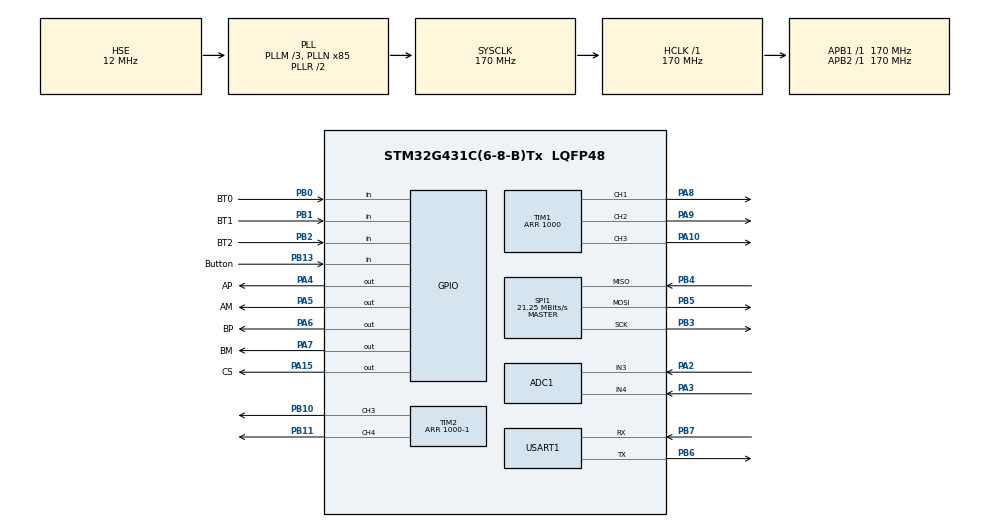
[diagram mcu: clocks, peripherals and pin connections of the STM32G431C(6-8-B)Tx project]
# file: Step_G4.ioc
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ADC1.Channel-0\#ChannelRegularConversion=ADC_CHANNEL_3
ADC1.Channel-1\#ChannelRegularConversion=ADC_CHANNEL_4
ADC1.NbrOfConversion=2
ADC1.NbrOfConversionFlag=1
ADC1.OffsetNumber-0\#ChannelRegularConversion=ADC_OFFSET_NONE
ADC1.OffsetNumber-1\#ChannelRegularConversion=ADC_OFFSET_NONE
ADC1.Rank-0\#ChannelRegularConversion=1
ADC1.Rank-1\#ChannelRegularConversion=2
ADC1.SamplingTime-0\#ChannelRegularConversion=ADC_SAMPLETIME_6CYCLES_5
ADC1.SamplingTime-1\#ChannelRegularConversion=ADC_SAMPLETIME_6CYCLES_5
ADC1.master=1
Dma.ADC1.0.Direction=DMA_PERIPH_TO_MEMORY
Dma.ADC1.0.EventEnable=DISABLE
Dma.ADC1.0.Instance=DMA1_Channel1
Dma.ADC1.0.MemDataAlignment=DMA_MDATAALIGN_HALFWORD
Dma.ADC1.0.MemInc=DMA_MINC_ENABLE
Dma.ADC1.0.Mode=DMA_CIRCULAR
Dma.ADC1.0.PeriphDataAlignment=DMA_PDATAALIGN_HALFWORD
Dma.ADC1.0.PeriphInc=DMA_PINC_DISABLE
Dma.ADC1.0.Polarity=HAL_DMAMUX_REQ_GEN_RISING
Dma.ADC1.0.Priority=DMA_PRIORITY_LOW
Dma.ADC1.0.RequestNumber=1
Dma.ADC1.0.SignalID=NONE
Dma.ADC1.0.SyncEnable=DISABLE
Dma.ADC1.0.SyncPolarity=HAL_DMAMUX_SYNC_NO_EVENT
Dma.ADC1.0.SyncRequestNumber=1
Dma.ADC1.0.SyncSignalID=NONE
Dma.Request0=ADC1
Dma.Request1=USART1_RX
Dma.Request2=USART1_TX
Dma.USART1_RX.1.Direction=DMA_PERIPH_TO_MEMORY
Dma.USART1_RX.1.EventEnable=DISABLE
Dma.USART1_RX.1.Instance=DMA1_Channel2
Dma.USART1_RX.1.MemDataAlignment=DMA_MDATAALIGN_BYTE
Dma.USART1_RX.1.MemInc=DMA_MINC_ENABLE
Dma.USART1_RX.1.Mode=DMA_CIRCULAR
Dma.USART1_RX.1.PeriphDataAlignment=DMA_PDATAALIGN_BYTE
Dma.USART1_RX.1.PeriphInc=DMA_PINC_DISABLE
Dma.USART1_RX.1.Polarity=HAL_DMAMUX_REQ_GEN_RISING
Dma.USART1_RX.1.Priority=DMA_PRIORITY_LOW
Dma.USART1_RX.1.RequestNumber=1
Dma.USART1_RX.1.SignalID=NONE
Dma.USART1_RX.1.SyncEnable=DISABLE
Dma.USART1_RX.1.SyncPolarity=HAL_DMAMUX_SYNC_NO_EVENT
Dma.USART1_RX.1.SyncRequestNumber=1
Dma.USART1_RX.1.SyncSignalID=NONE
Dma.USART1_TX.2.Direction=DMA_MEMORY_TO_PERIPH
Dma.USART1_TX.2.EventEnable=DISABLE
Dma.USART1_TX.2.Instance=DMA1_Channel3
Dma.USART1_TX.2.MemDataAlignment=DMA_MDATAALIGN_BYTE
Dma.USART1_TX.2.MemInc=DMA_MINC_ENABLE
Dma.USART1_TX.2.Mode=DMA_NORMAL
Dma.USART1_TX.2.PeriphDataAlignment=DMA_PDATAALIGN_BYTE
Dma.USART1_TX.2.PeriphInc=DMA_PINC_DISABLE
Dma.USART1_TX.2.Polarity=HAL_DMAMUX_REQ_GEN_RISING
Dma.USART1_TX.2.Priority=DMA_PRIORITY_LOW
Dma.USART1_TX.2.RequestNumber=1
Dma.USART1_TX.2.SignalID=NONE
Dma.USART1_TX.2.SyncEnable=DISABLE
Dma.USART1_TX.2.SyncPolarity=HAL_DMAMUX_SYNC_NO_EVENT
Dma.USART1_TX.2.SyncRequestNumber=1
Dma.USART1_TX.2.SyncSignalID=NONE
Mcu.Family=STM32G4
Mcu.Name=STM32G431C(6-8-B)Tx
Mcu.Package=LQFP48
NVIC.DMA1_Channel1_IRQn=true\:0\:0\:false\:false\:true\:false\:true\:true
NVIC.DMA1_Channel2_IRQn=true\:0\:0\:false\:false\:true\:false\:true\:true
NVIC.DMA1_Channel3_IRQn=true\:0\:0\:false\:false\:true\:false\:true\:true
NVIC.PriorityGroup=NVIC_PRIORITYGROUP_4
NVIC.TIM3_IRQn=true\:1\:0\:true\:false\:true\:true\:true\:true
NVIC.TIM4_IRQn=true\:1\:0\:true\:false\:true\:true\:true\:true
NVIC.USART1_IRQn=true\:0\:0\:false\:false\:true\:true\:true\:true
PA10.Signal=S_TIM1_CH3
PA13.Mode=Serial_Wire
PA13.Signal=SYS_JTMS-SWDIO
PA14.Mode=Serial_Wire
PA14.Signal=SYS_JTCK-SWCLK
PA15.GPIO_Label=CS
PA15.GPIO_PuPd=GPIO_PULLDOWN
PA15.GPIO_Speed=GPIO_SPEED_FREQ_MEDIUM
PA15.Signal=GPIO_Output
PA2.Mode=IN3-Single-Ended
PA2.Signal=ADC1_IN3
PA3.Mode=IN4-Single-Ended
PA3.Signal=ADC1_IN4
PA4.GPIO_Label=AP
PA4.GPIO_PuPd=GPIO_PULLUP
PA4.GPIO_Speed=GPIO_SPEED_FREQ_VERY_HIGH
PA4.Signal=GPIO_Output
PA5.GPIO_Label=AM
PA5.GPIO_PuPd=GPIO_PULLUP
PA5.GPIO_Speed=GPIO_SPEED_FREQ_VERY_HIGH
PA5.Signal=GPIO_Output
PA6.GPIO_Label=BP
PA6.GPIO_PuPd=GPIO_PULLUP
PA6.GPIO_Speed=GPIO_SPEED_FREQ_VERY_HIGH
PA6.Signal=GPIO_Output
PA7.GPIO_Label=BM
PA7.GPIO_PuPd=GPIO_PULLUP
PA7.GPIO_Speed=GPIO_SPEED_FREQ_VERY_HIGH
PA7.Signal=GPIO_Output
PA8.Signal=S_TIM1_CH1
PA9.Signal=S_TIM1_CH2
PB0.GPIO_Label=BT0
PB0.GPIO_PuPd=GPIO_PULLUP
PB0.Signal=GPIO_Input
PB1.GPIO_Label=BT1
PB1.GPIO_PuPd=GPIO_PULLUP
PB1.Signal=GPIO_Input
PB10.Signal=S_TIM2_CH3
PB11.Signal=S_TIM2_CH4
PB13.GPIO_Label=Button
PB13.GPIO_PuPd=GPIO_PULLUP
PB13.Signal=GPIO_Input
PB2.GPIO_Label=BT2
PB2.GPIO_PuPd=GPIO_PULLUP
PB2.Signal=GPIO_Input
PB3.Mode=Full_Duplex_Master
PB3.Signal=SPI1_SCK
PB4.Mode=Full_Duplex_Master
PB4.Signal=SPI1_MISO
PB5.Mode=Full_Duplex_Master
PB5.Signal=SPI1_MOSI
PB6.Mode=Asynchronous
PB6.Signal=USART1_TX
PB7.Mode=Asynchronous
PB7.Signal=USART1_RX
PF0-OSC_IN.Mode=HSE-External-Oscillator
PF0-OSC_IN.Signal=RCC_OSC_IN
PF1-OSC_OUT.Mode=HSE-External-Oscillator
PF1-OSC_OUT.Signal=RCC_OSC_OUT
ProjectManager.HeapSize=0x200
ProjectManager.StackSize=0x400
ProjectManager.TargetToolchain=MDK-ARM V5.27
RCC.ADC12Freq_Value=170000000
RCC.AHBFreq_Value=170000000
RCC.APB1Freq_Value=170000000
RCC.APB1TimFreq_Value=170000000
RCC.APB2Freq_Value=170000000
RCC.APB2TimFreq_Value=170000000
RCC.CortexFreq_Value=170000000
RCC.EXTERNAL_CLOCK_VALUE=12288000
RCC.HCLKFreq_Value=170000000
RCC.HSE_VALUE=12000000
RCC.HSI48_VALUE=48000000
RCC.HSI_VALUE=16000000
RCC.LSE_VALUE=32768
RCC.PLLM=RCC_PLLM_DIV3
RCC.PLLN=85
RCC.PLLSourceVirtual=RCC_PLLSOURCE_HSE
RCC.SYSCLKFreq_VALUE=170000000
RCC.SYSCLKSource=RCC_SYSCLKSOURCE_PLLCLK
RCC.USBFreq_Value=170000000
RCC.VCOOutputFreq_Value=340000000
SH.S_TIM1_CH1.0=TIM1_CH1,PWM Generation1 CH1
SH.S_TIM1_CH2.0=TIM1_CH2,PWM Generation2 CH2
SH.S_TIM1_CH3.0=TIM1_CH3,PWM Generation3 CH3
SH.S_TIM2_CH3.0=TIM2_CH3,PWM Generation3 CH3
SH.S_TIM2_CH4.0=TIM2_CH4,PWM Generation4 CH4
SPI1.BaudRatePrescaler=SPI_BAUDRATEPRESCALER_8
SPI1.CLKPhase=SPI_PHASE_2EDGE
SPI1.CLKPolarity=SPI_POLARITY_HIGH
SPI1.CalculateBaudRate=21.25 MBits/s
SPI1.DataSize=SPI_DATASIZE_16BIT
SPI1.Direction=SPI_DIRECTION_2LINES
SPI1.Mode=SPI_MODE_MASTER
SPI1.VirtualType=VM_MASTER
TIM1.Channel-PWM\ Generation1\ CH1=TIM_CHANNEL_1
TIM1.Channel-PWM\ Generation2\ CH2=TIM_CHANNEL_2
TIM1.Channel-PWM\ Generation3\ CH3=TIM_CHANNEL_3
TIM1.PeriodNoDither=1000
TIM2.Channel-PWM\ Generation3\ CH3=TIM_CHANNEL_3
TIM2.Channel-PWM\ Generation4\ CH4=TIM_CHANNEL_4
TIM2.PeriodNoDither=1000-1
TIM3.PeriodNoDither=100-1
TIM3.Prescaler=170-1
TIM4.PeriodNoDither=1000-1
TIM4.Prescaler=170-1
USART1.VirtualMode-Asynchronous=VM_ASYNC
VP_SYS_VS_DBSignals.Mode=DisableDeadBatterySignals
VP_TIM1_VS_ClockSourceINT.Mode=Internal
VP_TIM2_VS_ClockSourceINT.Mode=Internal
VP_TIM3_VS_ClockSourceINT.Mode=Internal
VP_TIM4_VS_ClockSourceINT.Mode=Internal
board=custom

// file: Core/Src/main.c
/* USER CODE BEGIN Header */
/**
  ******************************************************************************
  * @file           : main.c
  * @brief          : Main program body
  ******************************************************************************
  * @attention
  *
  * Copyright (c) 2023 STMicroelectronics.
  * All rights reserved.
  *
  * This software is licensed under terms that can be found in the LICENSE file
  * in the root directory of this software component.
  * If no LICENSE file comes with this software, it is provided AS-IS.
  *
  ******************************************************************************
  */
/* USER CODE END Header */
#include "main.h"
#include "adc.h"
#include "dma.h"
#include "spi.h"
#include "tim.h"
#include "usart.h"
#include "gpio.h"

/* USER CODE BEGIN Includes */
#include "tb67h450.h"
#include "led.h"
#include "mt6816.h"
#include "foc.h"
#include "Flash.h"
#include <stdio.h>
#include "task.h"
#include "pid.h"
/* USER CODE END Includes */

void SystemClock_Config(void);

int main(void)
{

  /* MCU Configuration--------------------------------------------------------*/

  /* Reset of all peripherals, Initializes the Flash interface and the Systick. */
  HAL_Init();

  /* Configure the system clock */
  SystemClock_Config();

  /* Initialize all configured peripherals */
  MX_GPIO_Init();
  MX_DMA_Init();
  MX_ADC1_Init();
  MX_SPI1_Init();
  MX_TIM1_Init();
  MX_TIM2_Init();
  MX_TIM3_Init();
  MX_TIM4_Init();
  MX_USART1_UART_Init();
  /* USER CODE BEGIN 2 */
	init_TB67H450();
	init_LED();
	MT6816_Init();
	FOC_Init();
	PID_init();
	Enable_DMA();
	Enable_IT();
  /* USER CODE END 2 */

  /* Infinite loop */
  /* USER CODE BEGIN WHILE */
  while (1)
  {
		Close_loop();//闭环任务foc部分   pid需要严格定时所以在stm32g4xx_it.c 定时器3中断处理函数
    /* USER CODE END WHILE */

  }
}

void SystemClock_Config(void)
{
  RCC_OscInitTypeDef RCC_OscInitStruct = {0};
  RCC_ClkInitTypeDef RCC_ClkInitStruct = {0};

  /** Configure the main internal regulator output voltage
  */
  HAL_PWREx_ControlVoltageScaling(PWR_REGULATOR_VOLTAGE_SCALE1_BOOST);

  /** Initializes the RCC Oscillators according to the specified parameters
  * in the RCC_OscInitTypeDef structure.
  */
  RCC_OscInitStruct.OscillatorType = RCC_OSCILLATORTYPE_HSE;
  RCC_OscInitStruct.HSEState = RCC_HSE_ON;
  RCC_OscInitStruct.PLL.PLLState = RCC_PLL_ON;
  RCC_OscInitStruct.PLL.PLLSource = RCC_PLLSOURCE_HSE;
  RCC_OscInitStruct.PLL.PLLM = RCC_PLLM_DIV3;
  RCC_OscInitStruct.PLL.PLLN = 85;
  RCC_OscInitStruct.PLL.PLLP = RCC_PLLP_DIV2;
  RCC_OscInitStruct.PLL.PLLQ = RCC_PLLQ_DIV2;
  RCC_OscInitStruct.PLL.PLLR = RCC_PLLR_DIV2;
  if (HAL_RCC_OscConfig(&RCC_OscInitStruct) != HAL_OK)
  {
    Error_Handler();
  }

  /** Initializes the CPU, AHB and APB buses clocks
  */
  RCC_ClkInitStruct.ClockType = RCC_CLOCKTYPE_HCLK|RCC_CLOCKTYPE_SYSCLK
                              |RCC_CLOCKTYPE_PCLK1|RCC_CLOCKTYPE_PCLK2;
  RCC_ClkInitStruct.SYSCLKSource = RCC_SYSCLKSOURCE_PLLCLK;
  RCC_ClkInitStruct.AHBCLKDivider = RCC_SYSCLK_DIV1;
  RCC_ClkInitStruct.APB1CLKDivider = RCC_HCLK_DIV1;
  RCC_ClkInitStruct.APB2CLKDivider = RCC_HCLK_DIV1;

  if (HAL_RCC_ClockConfig(&RCC_ClkInitStruct, FLASH_LATENCY_4) != HAL_OK)
  {
    Error_Handler();
  }
}

void Error_Handler(void)
{
  __disable_irq();
  while (1)
  {
  }
}
